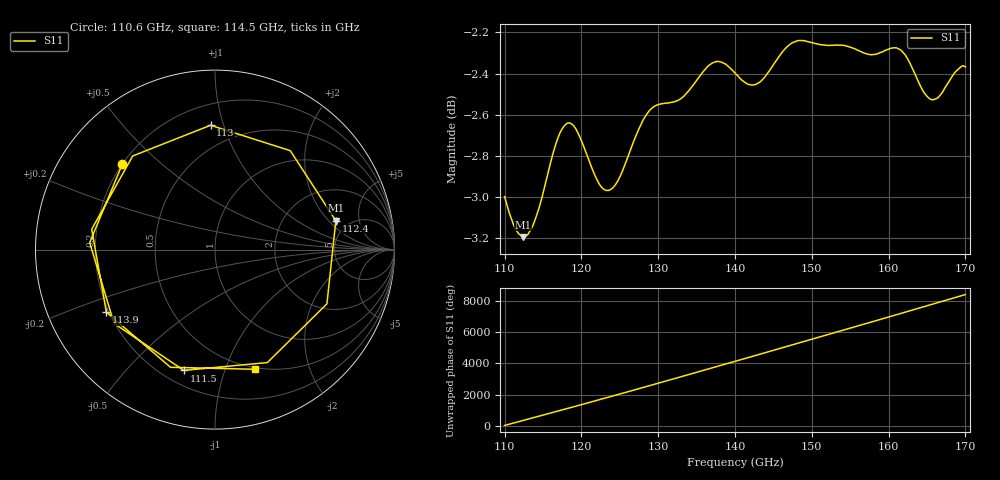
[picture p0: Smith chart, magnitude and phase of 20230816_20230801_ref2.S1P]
! C:\Users\Solidworker\Documents\VNA\mmiller\20230801\20230816_20230801_ref2.S1P
! Touchstone 1.1 file saved by VNA.EXE V1.65 (www.ke5fx.com/gpib/readme.htm)
! 8/16/2023 2:58:13 PM
!  Source: HP8510C.07.10: Mar 30  1995
!  Min freq: 1.100000E+011 Hz
!  Max freq: 1.700000E+011 Hz
!  Points: 201
!  Params: S11
# GHZ S MA R 50
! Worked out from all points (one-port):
!   201 points, 110 GHz to 170 GHz, reference 50 ohm
!   lowest |S11| = -3.2 dB at 112.4 GHz (marker M1), VSWR 5.50, Z = 196 + j121 ohm
!   |S11| at or under -10 dB: nowhere
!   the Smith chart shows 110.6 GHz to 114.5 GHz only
!   S11 on the Smith chart (normalised r, x): 110.6 GHz: 0.20, +0.38; 111.5 GHz: 0.28, -0.74; 112.4 GHz: 3.92, +2.43; 113 GHz: 0.34, +0.91; 113.9 GHz: 0.19, -0.26; 114.5 GHz: 0.48, -1.28
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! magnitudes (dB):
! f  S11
! 110 GHz  -3.0
! 110.6 GHz  -3.1
! 111.5 GHz  -3.2
! 112.4 GHz  -3.2
! 113 GHz  -3.2
! 113.9 GHz  -3.1
! 114.5 GHz  -3.1
! 116.3 GHz  -2.8
! 117.5 GHz  -2.7
! 119 GHz  -2.7
! 122.9 GHz  -3.0
! 124.1 GHz  -3.0
! 125 GHz  -2.9
! 128.6 GHz  -2.6
! 132.5 GHz  -2.5
! 137 GHz  -2.3
! 138.5 GHz  -2.3
! 140 GHz  -2.4
! 141.5 GHz  -2.4
! 143 GHz  -2.4
! 147.5 GHz  -2.2
! 155 GHz  -2.3
! 157.7 GHz  -2.3
! 161 GHz  -2.3
! 162.5 GHz  -2.3
! 164.3 GHz  -2.5
! 165.5 GHz  -2.5
! 170 GHz  -2.4
